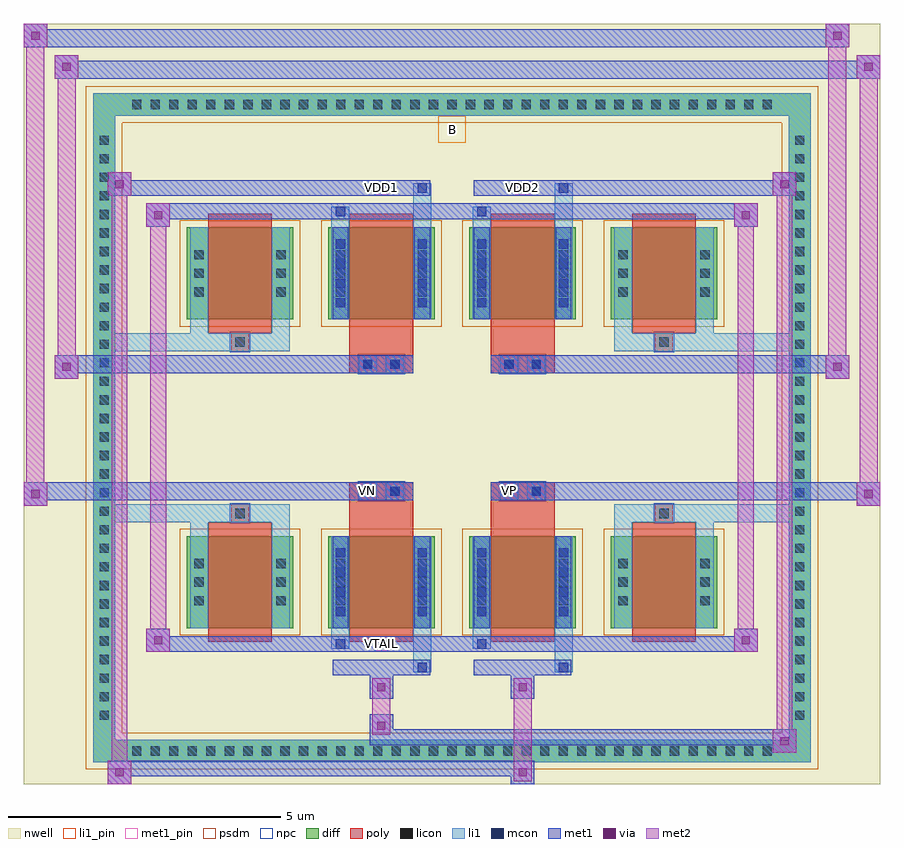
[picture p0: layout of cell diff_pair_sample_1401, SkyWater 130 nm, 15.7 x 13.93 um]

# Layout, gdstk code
import gdstk
lib = gdstk.Library(unit=1e-6, precision=5e-09)
def R(c, l, rs):  # rectangles x0, y0, x1, y1
    for r in rs: c.add(gdstk.rectangle(r[:2], r[2:], *l))
def A(c, l, x, y, w, h, nx, ny, dx, dy):  # array of equal rectangles
    R(c, l, [(x+i*dx, y+j*dy, x+i*dx+w, y+j*dy+h) for i in range(nx) for j in range(ny)])
def P(c, l, *ps):  # polygons
    for p in ps: c.add(gdstk.Polygon(p, *l))
nwell = (64, 20)
diff = (65, 20)
poly = (66, 20)
licon = (66, 44)
li1_pin = (67, 16)
li1 = (67, 20)
mcon = (67, 44)
met1_pin = (68, 16)
met1 = (68, 20)
via = (68, 44)
met2 = (69, 20)
psdm = (94, 20)
npc = (95, 20)

diff_pair_sample_1401 = lib.new_cell('diff_pair_sample_1401')
R(diff_pair_sample_1401, nwell, [(-7.85,-6.53,7.85,7.4), (-5.17,-4.72,-0.01,-0.8), (0.01,-4.72,5.17,-0.8), (-5.17,0.8,-0.01,4.72), (0.01,0.8,5.17,4.72)])
A(diff_pair_sample_1401, diff, -5.985, -6.13, 0.41, 0.41, 35, 2, 0.34, 11.85)
A(diff_pair_sample_1401, diff, -6.58, -5.475, 0.41, 0.41, 1, 32, 0, 0.34)
A(diff_pair_sample_1401, diff, 6.17, -5.475, 0.41, 0.41, 1, 32, 0, 0.34)
A(diff_pair_sample_1401, diff, -4.86, -3.675, 1.95, 1.69, 4, 2, 2.59, 5.66)
R(diff_pair_sample_1401, diff, [(-5.985,-6.13,5.985,-5.72), (-6.58,-5.475,-6.17,5.475), (6.17,-5.475,6.58,5.475), (-5.985,5.72,5.985,6.13)])
P(diff_pair_sample_1401, diff, [(6.58,6.13),(-6.58,6.13),(-6.58,-5.72),(-6.17,-5.72),(-6.17,5.72),(6.17,5.72),(6.17,-5.72),(-6.17,-5.72),(-6.58,-5.72),(-6.58,-6.13),(6.58,-6.13)])
A(diff_pair_sample_1401, poly, -4.47, -3.925, 1.17, 2.19, 4, 2, 2.59, 5.66)
R(diff_pair_sample_1401, poly, [(-4.05,-1.735,-3.72,-1.405), (-4.05,-1.735,-3.72,-1.405), (-1.88,-1.735,-0.71,-1.33), (0.71,-1.735,1.88,-1.33), (3.72,-1.735,4.05,-1.405), (3.72,-1.735,4.05,-1.405), (-1.88,-1.33,-0.71,-1), (-1.71,-1.33,-1.38,-1), (-1.21,-1.33,-0.88,-1), (0.71,-1.33,1.88,-1), (0.88,-1.33,1.21,-1), (1.38,-1.33,1.71,-1), (-1.88,1,-0.71,1.33), (-1.71,1,-1.38,1.33), (-1.21,1,-0.88,1.33), (0.71,1,1.88,1.33), (0.88,1,1.21,1.33), (1.38,1,1.71,1.33), (-1.88,1.33,-0.71,1.735), (0.71,1.33,1.88,1.735), (-4.05,1.405,-3.72,1.735), (-4.05,1.405,-3.72,1.735), (3.72,1.405,4.05,1.735), (3.72,1.405,4.05,1.735)])
A(diff_pair_sample_1401, licon, -5.865, -6.01, 0.17, 0.17, 35, 2, 0.34, 11.85)
A(diff_pair_sample_1401, licon, -6.46, -5.355, 0.17, 0.17, 1, 32, 0, 0.34)
A(diff_pair_sample_1401, licon, 6.29, -5.355, 0.17, 0.17, 1, 32, 0, 0.34)
A(diff_pair_sample_1401, licon, -4.72, -3.255, 0.17, 0.17, 1, 3, 0, 0.34)
A(diff_pair_sample_1401, licon, -3.22, -3.255, 0.17, 0.17, 1, 3, 0, 0.34)
A(diff_pair_sample_1401, licon, -2.13, -3.255, 0.17, 0.17, 1, 3, 0, 0.34)
A(diff_pair_sample_1401, licon, -0.63, -3.255, 0.17, 0.17, 1, 3, 0, 0.34)
A(diff_pair_sample_1401, licon, 0.46, -3.255, 0.17, 0.17, 1, 3, 0, 0.34)
A(diff_pair_sample_1401, licon, 1.96, -3.255, 0.17, 0.17, 1, 3, 0, 0.34)
A(diff_pair_sample_1401, licon, 3.05, -3.255, 0.17, 0.17, 1, 3, 0, 0.34)
A(diff_pair_sample_1401, licon, 4.55, -3.255, 0.17, 0.17, 1, 3, 0, 0.34)
A(diff_pair_sample_1401, licon, -4.72, 2.405, 0.17, 0.17, 1, 3, 0, 0.34)
A(diff_pair_sample_1401, licon, -3.22, 2.405, 0.17, 0.17, 1, 3, 0, 0.34)
A(diff_pair_sample_1401, licon, -2.13, 2.405, 0.17, 0.17, 1, 3, 0, 0.34)
A(diff_pair_sample_1401, licon, -0.63, 2.405, 0.17, 0.17, 1, 3, 0, 0.34)
A(diff_pair_sample_1401, licon, 0.46, 2.405, 0.17, 0.17, 1, 3, 0, 0.34)
A(diff_pair_sample_1401, licon, 1.96, 2.405, 0.17, 0.17, 1, 3, 0, 0.34)
A(diff_pair_sample_1401, licon, 3.05, 2.405, 0.17, 0.17, 1, 3, 0, 0.34)
A(diff_pair_sample_1401, licon, 4.55, 2.405, 0.17, 0.17, 1, 3, 0, 0.34)
R(diff_pair_sample_1401, licon, [(-3.97,-1.655,-3.8,-1.485), (3.8,-1.655,3.97,-1.485), (-1.63,-1.25,-1.46,-1.08), (-1.13,-1.25,-0.96,-1.08), (0.96,-1.25,1.13,-1.08), (1.46,-1.25,1.63,-1.08), (-1.63,1.08,-1.46,1.25), (-1.13,1.08,-0.96,1.25), (0.96,1.08,1.13,1.25), (1.46,1.08,1.63,1.25), (-3.97,1.485,-3.8,1.655), (3.8,1.485,3.97,1.655)])
R(diff_pair_sample_1401, li1_pin, [(-0.25,5.22,0.25,5.72)])
A(diff_pair_sample_1401, li1, -5.945, -6.09, 0.33, 0.33, 35, 2, 0.34, 11.85)
A(diff_pair_sample_1401, li1, -6.54, -5.435, 0.33, 0.33, 1, 32, 0, 0.34)
A(diff_pair_sample_1401, li1, 6.21, -5.435, 0.33, 0.33, 1, 32, 0, 0.34)
A(diff_pair_sample_1401, li1, -2.13, -3.455, 0.17, 0.17, 1, 4, 0, 0.36)
A(diff_pair_sample_1401, li1, -0.63, -3.455, 0.17, 0.17, 1, 4, 0, 0.36)
A(diff_pair_sample_1401, li1, 0.46, -3.455, 0.17, 0.17, 1, 4, 0, 0.36)
A(diff_pair_sample_1401, li1, 1.96, -3.455, 0.17, 0.17, 1, 4, 0, 0.36)
A(diff_pair_sample_1401, li1, -4.8, -3.335, 0.33, 0.33, 1, 3, 0, 0.34)
A(diff_pair_sample_1401, li1, -3.3, -3.335, 0.33, 0.33, 1, 3, 0, 0.34)
A(diff_pair_sample_1401, li1, -2.21, -3.335, 0.33, 0.33, 1, 3, 0, 0.34)
A(diff_pair_sample_1401, li1, -0.71, -3.335, 0.33, 0.33, 1, 3, 0, 0.34)
A(diff_pair_sample_1401, li1, 0.38, -3.335, 0.33, 0.33, 1, 3, 0, 0.34)
A(diff_pair_sample_1401, li1, 1.88, -3.335, 0.33, 0.33, 1, 3, 0, 0.34)
A(diff_pair_sample_1401, li1, 2.97, -3.335, 0.33, 0.33, 1, 3, 0, 0.34)
A(diff_pair_sample_1401, li1, 4.47, -3.335, 0.33, 0.33, 1, 3, 0, 0.34)
A(diff_pair_sample_1401, li1, -2.13, 2.205, 0.17, 0.17, 1, 4, 0, 0.36)
A(diff_pair_sample_1401, li1, -0.63, 2.205, 0.17, 0.17, 1, 4, 0, 0.36)
A(diff_pair_sample_1401, li1, 0.46, 2.205, 0.17, 0.17, 1, 4, 0, 0.36)
A(diff_pair_sample_1401, li1, 1.96, 2.205, 0.17, 0.17, 1, 4, 0, 0.36)
A(diff_pair_sample_1401, li1, -4.8, 2.325, 0.33, 0.33, 1, 3, 0, 0.34)
A(diff_pair_sample_1401, li1, -3.3, 2.325, 0.33, 0.33, 1, 3, 0, 0.34)
A(diff_pair_sample_1401, li1, -2.21, 2.325, 0.33, 0.33, 1, 3, 0, 0.34)
A(diff_pair_sample_1401, li1, -0.71, 2.325, 0.33, 0.33, 1, 3, 0, 0.34)
A(diff_pair_sample_1401, li1, 0.38, 2.325, 0.33, 0.33, 1, 3, 0, 0.34)
A(diff_pair_sample_1401, li1, 1.88, 2.325, 0.33, 0.33, 1, 3, 0, 0.34)
A(diff_pair_sample_1401, li1, 2.97, 2.325, 0.33, 0.33, 1, 3, 0, 0.34)
A(diff_pair_sample_1401, li1, 4.47, 2.325, 0.33, 0.33, 1, 3, 0, 0.34)
R(diff_pair_sample_1401, li1, [(-6.58,-6.13,-6.17,-5.72), (-6.58,-6.13,-6.17,-5.72), (-6.17,-6.13,6.17,-5.72), (6.17,-6.13,6.58,-5.72), (6.17,-6.13,6.58,-5.72), (-6.58,-5.72,-6.17,5.72), (6.17,-5.72,6.58,5.72), (-0.71,-4.48,-0.38,-3.675), (-0.63,-4.48,-0.46,-4.31), (1.88,-4.48,2.21,-3.675), (1.96,-4.48,2.13,-4.31), (-2.21,-4.05,-1.88,-3.675), (-2.13,-4.05,-1.96,-3.88), (0.38,-4.05,0.71,-3.675), (0.46,-4.05,0.63,-3.88), (-4.8,-3.675,-4.47,-1.985), (-3.3,-3.675,-2.97,-1.985), (-2.21,-3.675,-1.88,-1.985), (-0.71,-3.675,-0.38,-1.985), (0.38,-3.675,0.71,-1.985), (1.88,-3.675,2.21,-1.985), (2.97,-3.675,3.3,-1.985), (4.47,-3.675,4.8,-1.985), (-2.13,-3.455,-1.96,-2.205), (-0.63,-3.455,-0.46,-2.205), (0.46,-3.455,0.63,-2.205), (1.96,-3.455,2.13,-2.205), (-4.8,-1.985,-4.47,-1.405), (-3.3,-1.985,-2.97,-1.405), (2.97,-1.985,3.3,-1.405), (4.47,-1.985,4.8,-1.405), (-6.58,-1.735,-4.05,-1.405), (-4.8,-1.735,-4.05,-1.405), (-4.05,-1.735,-3.72,-1.405), (-3.72,-1.735,-2.97,-1.405), (2.97,-1.735,3.72,-1.405), (3.72,-1.735,4.05,-1.405), (3.72,-1.735,6.58,-1.405), (4.05,-1.735,4.8,-1.405), (-1.71,-1.33,-1.38,-1), (-1.21,-1.33,-0.88,-1), (0.88,-1.33,1.21,-1), (1.38,-1.33,1.71,-1), (-1.71,1,-1.38,1.33), (-1.21,1,-0.88,1.33), (0.88,1,1.21,1.33), (1.38,1,1.71,1.33), (-6.58,1.405,-4.05,1.735), (-4.8,1.405,-4.05,1.735), (-4.8,1.405,-4.47,1.985), (-4.05,1.405,-3.72,1.735), (-3.72,1.405,-2.97,1.735), (-3.3,1.405,-2.97,1.985), (2.97,1.405,3.72,1.735), (2.97,1.405,3.3,1.985), (3.72,1.405,4.05,1.735), (3.72,1.405,6.58,1.735), (4.05,1.405,4.8,1.735), (4.47,1.405,4.8,1.985), (-4.8,1.985,-4.47,3.675), (-3.3,1.985,-2.97,3.675), (-2.21,1.985,-1.88,3.675), (-0.71,1.985,-0.38,3.675), (0.38,1.985,0.71,3.675), (1.88,1.985,2.21,3.675), (2.97,1.985,3.3,3.675), (4.47,1.985,4.8,3.675), (-2.13,2.205,-1.96,3.455), (-0.63,2.205,-0.46,3.455), (0.46,2.205,0.63,3.455), (1.96,2.205,2.13,3.455), (-2.21,3.675,-1.88,4.05), (-0.71,3.675,-0.38,4.48), (0.38,3.675,0.71,4.05), (1.88,3.675,2.21,4.48), (-2.13,3.88,-1.96,4.05), (0.46,3.88,0.63,4.05), (-0.63,4.31,-0.46,4.48), (1.96,4.31,2.13,4.48), (-6.58,5.72,-6.17,6.13), (-6.58,5.72,-6.17,6.13), (-6.17,5.72,6.17,6.13), (6.17,5.72,6.58,6.13), (6.17,5.72,6.58,6.13)])
A(diff_pair_sample_1401, mcon, -2.13, -3.455, 0.17, 0.17, 1, 4, 0, 0.36)
A(diff_pair_sample_1401, mcon, -0.63, -3.455, 0.17, 0.17, 1, 4, 0, 0.36)
A(diff_pair_sample_1401, mcon, 0.46, -3.455, 0.17, 0.17, 1, 4, 0, 0.36)
A(diff_pair_sample_1401, mcon, 1.96, -3.455, 0.17, 0.17, 1, 4, 0, 0.36)
A(diff_pair_sample_1401, mcon, -2.13, 2.205, 0.17, 0.17, 1, 4, 0, 0.36)
A(diff_pair_sample_1401, mcon, -0.63, 2.205, 0.17, 0.17, 1, 4, 0, 0.36)
A(diff_pair_sample_1401, mcon, 0.46, 2.205, 0.17, 0.17, 1, 4, 0, 0.36)
A(diff_pair_sample_1401, mcon, 1.96, 2.205, 0.17, 0.17, 1, 4, 0, 0.36)
R(diff_pair_sample_1401, mcon, [(-0.63,-4.48,-0.46,-4.31), (1.96,-4.48,2.13,-4.31), (-2.13,-4.05,-1.96,-3.88), (0.46,-4.05,0.63,-3.88), (-1.63,-1.25,-1.46,-1.08), (-1.13,-1.25,-0.96,-1.08), (0.96,-1.25,1.13,-1.08), (1.46,-1.25,1.63,-1.08), (-1.63,1.08,-1.46,1.25), (-1.13,1.08,-0.96,1.25), (0.96,1.08,1.13,1.25), (1.46,1.08,1.63,1.25), (-2.13,3.88,-1.96,4.05), (0.46,3.88,0.63,4.05), (-0.63,4.31,-0.46,4.48), (1.96,4.31,2.13,4.48)])
R(diff_pair_sample_1401, met1_pin, [(-1.43,-4.09,-1.16,-3.82), (-1.68,-1.29,-1.41,-1.02), (0.91,-1.29,1.18,-1.02), (-1.43,4.27,-1.16,4.54), (1.16,4.27,1.43,4.54)])
A(diff_pair_sample_1401, met1, -2.19, -3.515, 0.29, 0.29, 1, 4, 0, 0.36)
A(diff_pair_sample_1401, met1, -0.69, -3.515, 0.29, 0.29, 1, 4, 0, 0.36)
A(diff_pair_sample_1401, met1, 0.4, -3.515, 0.29, 0.29, 1, 4, 0, 0.36)
A(diff_pair_sample_1401, met1, 1.9, -3.515, 0.29, 0.29, 1, 4, 0, 0.36)
A(diff_pair_sample_1401, met1, -2.19, 2.145, 0.29, 0.29, 1, 4, 0, 0.36)
A(diff_pair_sample_1401, met1, -0.69, 2.145, 0.29, 0.29, 1, 4, 0, 0.36)
A(diff_pair_sample_1401, met1, 0.4, 2.145, 0.29, 0.29, 1, 4, 0, 0.36)
A(diff_pair_sample_1401, met1, 1.9, 2.145, 0.29, 0.29, 1, 4, 0, 0.36)
R(diff_pair_sample_1401, met1, [(-6.31,-6.53,-5.88,-6.1), (1.08,-6.53,1.51,-6.1), (-6.31,-6.39,1.51,-6.1), (5.88,-5.96,6.31,-5.53), (-1.51,-5.82,6.31,-5.53), (-1.51,-5.68,-1.08,-5.25), (-1.51,-4.97,-1.08,-4.54), (1.08,-4.97,1.51,-4.54), (-2.19,-4.54,-0.4,-4.25), (-0.69,-4.54,-0.4,-4.25), (0.4,-4.54,2.19,-4.25), (1.9,-4.54,2.19,-4.25), (-5.6,-4.11,-5.17,-3.68), (-5.6,-4.11,-2.19,-3.82), (-2.19,-4.11,-1.9,-3.82), (-2.19,-4.11,-0.4,-3.82), (-0.4,-4.11,0.4,-3.82), (0.4,-4.11,0.69,-3.82), (0.4,-4.11,2.19,-3.82), (2.19,-4.11,5.6,-3.82), (5.17,-4.11,5.6,-3.68), (-2.19,-3.675,-1.9,-1.985), (-0.69,-3.675,-0.4,-1.985), (0.4,-3.675,0.69,-1.985), (1.9,-3.675,2.19,-1.985), (-7.85,-1.43,-7.42,-1), (7.42,-1.43,7.85,-1), (-7.85,-1.33,-0.71,-1), (-1.88,-1.33,-0.71,-1), (0.71,-1.33,1.88,-1), (0.71,-1.33,7.85,-1), (-1.69,-1.31,-1.4,-1.02), (-1.19,-1.31,-0.9,-1.02), (0.9,-1.31,1.19,-1.02), (1.4,-1.31,1.69,-1.02), (-7.28,0.9,-6.85,1.33), (6.85,0.9,7.28,1.33), (-7.28,1,-1.88,1.33), (-1.88,1,-0.71,1.33), (0.71,1,1.88,1.33), (1.88,1,7.28,1.33), (-1.69,1.02,-1.4,1.31), (-1.19,1.02,-0.9,1.31), (0.9,1.02,1.19,1.31), (1.4,1.02,1.69,1.31), (-2.19,1.985,-1.9,3.675), (-0.69,1.985,-0.4,3.675), (0.4,1.985,0.69,3.675), (1.9,1.985,2.19,3.675), (-5.6,3.68,-5.17,4.11), (5.17,3.68,5.6,4.11), (-5.6,3.82,-2.19,4.11), (-2.19,3.82,-1.9,4.11), (-2.19,3.82,-0.4,4.11), (-0.4,3.82,0.4,4.11), (0.4,3.82,0.69,4.11), (0.4,3.82,2.19,4.11), (2.19,3.82,5.6,4.11), (-6.31,4.25,-5.88,4.68), (-6.31,4.25,-2.19,4.54), (-2.19,4.25,-0.4,4.54), (-0.69,4.25,-0.4,4.54), (0.4,4.25,2.19,4.54), (1.9,4.25,2.19,4.54), (2.19,4.25,6.31,4.54), (5.88,4.25,6.31,4.68), (-7.28,6.4,-6.85,6.83), (-7.28,6.4,-5.17,6.73), (-5.17,6.4,5.17,6.73), (5.17,6.4,7.85,6.73), (7.42,6.4,7.85,6.83), (-7.85,6.97,-7.42,7.4), (-7.85,6.97,-5.17,7.3), (-5.17,6.97,5.17,7.3), (5.17,6.97,7.28,7.3), (6.85,6.97,7.28,7.4)])
R(diff_pair_sample_1401, via, [(-6.17,-6.39,-6.02,-6.24), (1.22,-6.39,1.37,-6.24), (6.02,-5.82,6.17,-5.67), (-1.37,-5.54,-1.22,-5.39), (-1.37,-4.83,-1.22,-4.68), (1.22,-4.83,1.37,-4.68), (-5.46,-3.97,-5.31,-3.82), (5.31,-3.97,5.46,-3.82), (-7.71,-1.29,-7.56,-1.14), (7.56,-1.29,7.71,-1.14), (-7.14,1.04,-6.99,1.19), (6.99,1.04,7.14,1.19), (-5.46,3.82,-5.31,3.97), (5.31,3.82,5.46,3.97), (-6.17,4.39,-6.02,4.54), (6.02,4.39,6.17,4.54), (-7.14,6.54,-6.99,6.69), (7.56,6.54,7.71,6.69), (-7.71,7.11,-7.56,7.26), (6.99,7.11,7.14,7.26)])
R(diff_pair_sample_1401, met2, [(-6.31,-6.53,-5.88,-6.1), (-6.24,-6.53,-5.95,4.68), (-5.95,-6.53,-5.88,-6.1), (-6.26,-6.48,-5.93,-6.15), (1.13,-6.48,1.46,-6.15), (1.13,-6.15,1.46,-4.92), (5.88,-5.96,6.31,-5.53), (5.95,-5.96,6.24,4.68), (6.24,-5.96,6.31,-5.53), (5.93,-5.91,6.26,-5.58), (-1.46,-5.63,-1.13,-5.3), (-1.46,-5.3,-1.13,-4.92), (-1.46,-4.92,-1.13,-4.59), (1.13,-4.92,1.46,-4.59), (-5.6,-4.11,-5.17,-3.68), (-5.53,-4.11,-5.24,4.11), (-5.24,-4.11,-5.17,-3.68), (5.17,-4.11,5.6,-3.68), (5.24,-4.11,5.53,4.11), (5.53,-4.11,5.6,-3.68), (-5.55,-4.06,-5.22,-3.73), (5.22,-4.06,5.55,-3.73), (-7.85,-1.43,-7.42,-1), (-7.8,-1.43,-7.47,7.4), (-7.47,-1.43,-7.42,-1), (7.42,-1.43,7.85,-1), (7.47,-1.43,7.8,6.83), (7.8,-1.43,7.85,-1), (-7.8,-1.38,-7.47,-1.05), (7.47,-1.38,7.8,-1.05), (-7.28,0.9,-6.85,1.33), (-7.23,0.9,-6.9,6.83), (-6.9,0.9,-6.85,1.33), (6.85,0.9,7.28,1.33), (6.9,0.9,7.23,7.4), (7.23,0.9,7.28,1.33), (-7.23,0.95,-6.9,1.28), (6.9,0.95,7.23,1.28), (-5.6,3.68,-5.17,4.11), (-5.24,3.68,-5.17,4.11), (5.17,3.68,5.6,4.11), (5.53,3.68,5.6,4.11), (-5.55,3.73,-5.22,4.06), (5.22,3.73,5.55,4.06), (-6.31,4.25,-5.88,4.68), (-5.95,4.25,-5.88,4.68), (5.88,4.25,6.31,4.68), (6.24,4.25,6.31,4.68), (-6.26,4.3,-5.93,4.63), (5.93,4.3,6.26,4.63), (-7.28,6.4,-6.85,6.83), (-6.9,6.4,-6.85,6.83), (7.42,6.4,7.85,6.83), (7.8,6.4,7.85,6.83), (-7.23,6.45,-6.9,6.78), (7.47,6.45,7.8,6.78), (-7.85,6.97,-7.42,7.4), (-7.47,6.97,-7.42,7.4), (6.85,6.97,7.28,7.4), (7.23,6.97,7.28,7.4), (-7.8,7.02,-7.47,7.35), (6.9,7.02,7.23,7.35)])
A(diff_pair_sample_1401, psdm, -4.99, -3.805, 2.21, 1.95, 4, 2, 2.59, 5.66)
P(diff_pair_sample_1401, psdm, [(6.71,6.26),(-6.71,6.26),(-6.71,-5.59),(-6.04,-5.59),(-6.04,5.59),(6.04,5.59),(6.04,-5.59),(-6.04,-5.59),(-6.71,-5.59),(-6.71,-6.26),(6.71,-6.26)])
R(diff_pair_sample_1401, npc, [(-4.07,-1.755,-3.7,-1.385), (3.7,-1.755,4.07,-1.385), (-1.73,-1.35,-1.36,-0.98), (-1.73,-1.35,-0.86,-0.98), (-1.73,-1.35,-0.86,-0.98), (-1.23,-1.35,-0.86,-0.98), (0.86,-1.35,1.23,-0.98), (0.86,-1.35,1.73,-0.98), (0.86,-1.35,1.73,-0.98), (1.36,-1.35,1.73,-0.98), (-1.73,0.98,-1.36,1.35), (-1.73,0.98,-0.86,1.35), (-1.73,0.98,-0.86,1.35), (-1.23,0.98,-0.86,1.35), (0.86,0.98,1.23,1.35), (0.86,0.98,1.73,1.35), (0.86,0.98,1.73,1.35), (1.36,0.98,1.73,1.35), (-4.07,1.385,-3.7,1.755), (3.7,1.385,4.07,1.755)])
diff_pair_sample_1401.add(gdstk.Label('VTAIL', (-1.295,-3.955), layer=68, texttype=5))
diff_pair_sample_1401.add(gdstk.Label('VN', (-1.545,-1.155), layer=68, texttype=5))
diff_pair_sample_1401.add(gdstk.Label('VP', (1.045,-1.155), layer=68, texttype=5))
diff_pair_sample_1401.add(gdstk.Label('B', (0,5.47), layer=67, texttype=5))
diff_pair_sample_1401.add(gdstk.Label('VDD2', (1.295,4.405), layer=68, texttype=5))
diff_pair_sample_1401.add(gdstk.Label('VDD1', (-1.295,4.405), layer=68, texttype=5))

lib.write_gds('diff_pair_sample_1401.gds')
